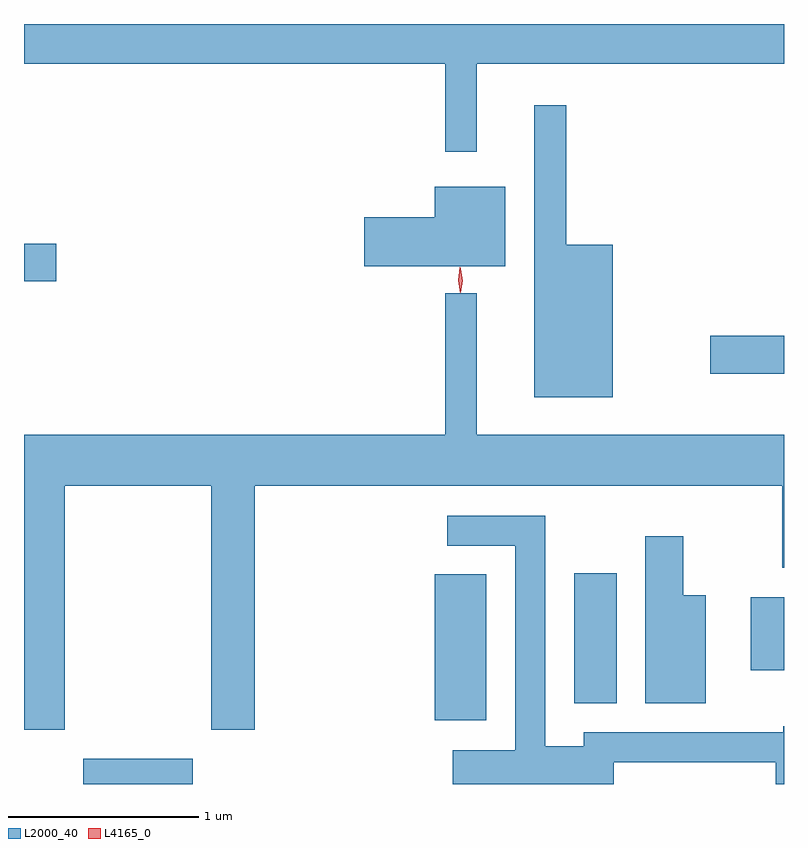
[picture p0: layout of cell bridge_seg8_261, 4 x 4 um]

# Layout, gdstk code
import gdstk
lib = gdstk.Library(unit=1e-6, precision=1e-09)
def R(c, l, rs):  # rectangles x0, y0, x1, y1
    for r in rs: c.add(gdstk.rectangle(r[:2], r[2:], *l))
def P(c, l, *ps):  # polygons
    for p in ps: c.add(gdstk.Polygon(p, *l))
L2000_40 = (2000, 40)
L4165_0 = (4165, 0)

bridge_seg8_261 = lib.new_cell('bridge_seg8_261')
R(bridge_seg8_261, L2000_40, [(1199.496,1845.946,1200.074,1846.079), (1201.346,1846.281,1201.619,1847.049), (1202.081,1846.371,1202.304,1847.054), (1203.011,1846.546,1203.185,1846.929), (1202.796,1848.106,1203.185,1848.304), (1199.185,1848.591,1199.354,1848.789)])
P(bridge_seg8_261, L2000_40, [(1201.569,1849.736),(1203.185,1849.736),(1203.185,1849.946),(1199.185,1849.946),(1199.185,1849.736),(1201.401,1849.736),(1201.401,1849.273),(1201.569,1849.273)],
  [(1202.284,1848.784),(1202.039,1848.784),(1202.039,1849.518),(1201.871,1849.518),(1201.871,1847.981),(1202.284,1847.981)],
  [(1201.719,1849.089),(1201.346,1849.089),(1201.346,1848.929),(1200.976,1848.929),(1200.976,1848.671),(1201.719,1848.671)],
  [(1199.399,1847.516),(1200.171,1847.516),(1200.171,1846.231),(1200.399,1846.231),(1200.399,1847.516),(1203.176,1847.516),(1203.176,1847.083),(1203.185,1847.083),(1203.185,1847.784),(1201.569,1847.784),(1201.569,1848.528),(1201.401,1848.528),(1201.401,1847.784),(1199.185,1847.784),(1199.185,1846.231),(1199.399,1846.231)],
  [(1202.289,1846.061),(1203.141,1846.061),(1203.141,1845.946),(1203.185,1845.946),(1203.185,1846.249),(1203.181,1846.249),(1203.181,1846.219),(1202.131,1846.219),(1202.131,1846.144),(1201.929,1846.144),(1201.929,1847.359),(1201.413,1847.359),(1201.413,1847.201),(1201.771,1847.201),(1201.771,1846.124),(1201.441,1846.124),(1201.441,1845.946),(1202.289,1845.946)],
  [(1202.774,1846.939),(1202.654,1846.939),(1202.654,1847.249),(1202.456,1847.249),(1202.456,1846.371),(1202.774,1846.371)])
P(bridge_seg8_261, L4165_0, [(1201.482,1848.533),(1201.473,1848.596),(1201.482,1848.659),(1201.483,1848.66),(1201.484,1848.659),(1201.493,1848.596),(1201.484,1848.533),(1201.483,1848.533)],
  [(1201.48,1848.53),(1201.48,1848.53),(1201.47,1848.598),(1201.479,1848.665),(1201.479,1848.666),(1201.48,1848.665),(1201.49,1848.598),(1201.481,1848.53)])

lib.write_gds('bridge_seg8_261.gds')
